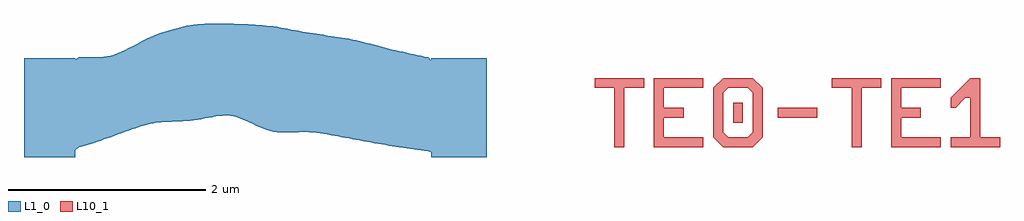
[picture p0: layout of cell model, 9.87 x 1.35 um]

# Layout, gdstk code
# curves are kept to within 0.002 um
import gdstk
lib = gdstk.Library(unit=1e-6, precision=1e-09)
def R(c, l, rs):  # rectangles x0, y0, x1, y1
    for r in rs: c.add(gdstk.rectangle(r[:2], r[2:], *l))
def P(c, l, *ps):  # polygons
    for p in ps: c.add(gdstk.Polygon(p, *l))
L1_0 = (1, 0)
L10_1 = (10, 1)

text = lib.new_cell('TEXT')
R(text, L10_1, [(1.4,0.25,1.5,0.45), (1.85,0.3,2.25,0.4)])
P(text, L10_1, [(0.2,0),(0.2,0.6),(0,0.6),(0,0.7),(0.5,0.7),(0.5,0.6),(0.3,0.6),(0.3,0)],
  [(0.6,0),(0.6,0.7),(1.1,0.7),(1.1,0.6),(0.7,0.6),(0.7,0.4),(0.9,0.4),(0.9,0.3),(0.7,0.3),(0.7,0.1),(1.1,0.1),(1.1,0)],
  [(1.3,0),(1.2,0.1),(1.2,0.6),(1.3,0.7),(1.6,0.7),(1.7,0.6),(1.35,0.6),(1.3,0.55),(1.3,0.15),(1.35,0.1),(1.55,0.1),(1.6,0.15),(1.6,0.55),(1.55,0.6),(1.7,0.6),(1.7,0.1),(1.6,0)],
  [(2.6,0),(2.6,0.6),(2.4,0.6),(2.4,0.7),(2.9,0.7),(2.9,0.6),(2.7,0.6),(2.7,0)],
  [(3,0),(3,0.7),(3.5,0.7),(3.5,0.6),(3.1,0.6),(3.1,0.4),(3.3,0.4),(3.3,0.3),(3.1,0.3),(3.1,0.1),(3.5,0.1),(3.5,0)],
  [(3.6,0),(3.6,0.1),(3.8,0.1),(3.8,0.5),(3.75,0.5),(3.65,0.4),(3.6,0.4),(3.6,0.5),(3.8,0.7),(3.9,0.7),(3.9,0.1),(4.1,0.1),(4.1,0)])

model = lib.new_cell('model')
R(model, L1_0, [(-2.36,-0.5,-1.84,0.5), (1.76,-0.5,2.32,0.5)])
P(model, L1_0, [(1.76,-0.452),(1.73,-0.438),(1.619,-0.426),(1.401,-0.394),(1.183,-0.357),(0.672,-0.263),(0.599,-0.253),(0.491,-0.245),(0.236,-0.249),(0.163,-0.241),(0.126,-0.233),(0.052,-0.209),(-0.13,-0.124),(-0.203,-0.095),(-0.276,-0.08),(-0.312,-0.078),(-0.349,-0.079),(-0.422,-0.088),(-0.568,-0.115),(-0.642,-0.125),(-0.717,-0.133),(-0.974,-0.145),(-1.084,-0.162),(-1.195,-0.193),(-1.586,-0.333),(-1.694,-0.369),(-1.805,-0.4),(-1.84,-0.432),(-1.84,0.485),(-1.805,0.512),(-1.622,0.511),(-1.551,0.515),(-1.481,0.526),(-1.446,0.536),(-1.376,0.564),(-1.158,0.678),(-1.084,0.713),(-1.011,0.743),(-0.937,0.768),(-0.79,0.81),(-0.68,0.834),(-0.568,0.846),(-0.458,0.849),(-0.239,0.848),(-0.094,0.842),(0.089,0.83),(0.199,0.817),(0.491,0.764),(0.818,0.715),(0.964,0.689),(1.51,0.555),(1.73,0.512),(1.76,0.475)])
model.add(gdstk.Reference(text, (3.41,-0.4)))

lib.write_gds('model.gds')
